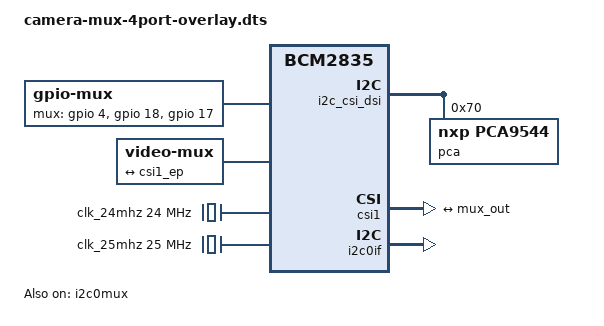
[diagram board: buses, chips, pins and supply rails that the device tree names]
// SPDX-License-Identifier: GPL-2.0-only

// Overlay to configure a 4 port camera multiplexer
//
// Configuration is based on the Arducam 4 channel multiplexer
// which uses a PCA9543 I2C multiplexer to handle the
// I2C, and GPIOs 4, 17, and 18 to control the MIPI muxes.

/dts-v1/;
/plugin/;

#include <dt-bindings/gpio/gpio.h>

/{
	compatible = "brcm,bcm2835";

	/* Fragments that complete the individual sensor fragments */
	/* IMX290 */
	fragment@0 {
		target = <&imx290_0_ep>;
		__overlay__ {
			data-lanes = <1 2>;
			link-frequencies =
				/bits/ 64 <445500000 297000000>;
		};
	};

	fragment@1 {
		target = <&imx290_1_ep>;
		__overlay__ {
			data-lanes = <1 2>;
			link-frequencies =
				/bits/ 64 <445500000 297000000>;
		};
	};

	fragment@2 {
		target = <&imx290_2_ep>;
		__overlay__ {
			data-lanes = <1 2>;
			link-frequencies =
				/bits/ 64 <445500000 297000000>;
		};
	};

	fragment@3 {
		target = <&imx290_3_ep>;
		__overlay__ {
			data-lanes = <1 2>;
			link-frequencies =
				/bits/ 64 <445500000 297000000>;
		};
	};

	/* IMX477 */
	fragment@10 {
		target = <&imx477_0>;
		__overlay__ {
			compatible = "sony,imx477";
		};
	};

	fragment@11 {
		target = <&imx477_1>;
		__overlay__ {
			compatible = "sony,imx477";
		};
	};

	fragment@12 {
		target = <&imx477_2>;
		__overlay__ {
			compatible = "sony,imx477";
		};
	};

	fragment@13 {
		target = <&imx477_3>;
		__overlay__ {
			compatible = "sony,imx477";
		};
	};

	/* Additional fragments affecting the mux nodes */
	fragment@100 {
		target = <&mux_in0>;
		__dormant__ {
			data-lanes = <1>;
		};
	};
	fragment@101 {
		target = <&mux_in0>;
		__overlay__ {
			data-lanes = <1 2>;
		};
	};

	fragment@102 {
		target = <&mux_in1>;
		__dormant__ {
			data-lanes = <1>;
		};
	};
	fragment@103 {
		target = <&mux_in1>;
		__overlay__ {
			data-lanes = <1 2>;
		};
	};

	fragment@104 {
		target = <&mux_in2>;
		__dormant__ {
			data-lanes = <1>;
		};
	};
	fragment@105 {
		target = <&mux_in2>;
		__overlay__ {
			data-lanes = <1 2>;
		};
	};

	fragment@106 {
		target = <&mux_in3>;
		__dormant__ {
			data-lanes = <1>;
		};
	};
	fragment@107 {
		target = <&mux_in3>;
		__overlay__ {
			data-lanes = <1 2>;
		};
	};

	/* Mux define */
	fragment@200 {
		target = <&i2c_csi_dsi>;
		__overlay__ {
			#address-cells = <1>;
			#size-cells = <0>;
			status = "okay";

			pca@70 {
				reg = <0x70>;
				compatible = "nxp,pca9544";

				#address-cells = <1>;
				#size-cells = <0>;

				i2c@0 {
					reg = <0>;
					#address-cells = <1>;
					#size-cells = <0>;

					#define cam_node arducam_64mp_0
					#define cam_endpoint arducam_64mp_0_ep
					#define vcm_node arducam_64mp_0_vcm
					#define cam1_clk clk_24mhz
					#include "arducam-64mp.dtsi"
					#undef cam_node
					#undef cam_endpoint
					#undef vcm_node
					#undef cam1_clk

					#define cam_node imx219_0
					#define cam_endpoint imx219_0_ep
					#define cam1_clk clk_24mhz
					#include "imx219.dtsi"
					#undef cam_node
					#undef cam_endpoint
					#undef cam1_clk

					#define cam_node imx477_0
					#define cam_endpoint imx477_0_ep
					#define cam1_clk clk_24mhz
					#include "imx477_378.dtsi"
					#undef cam_node
					#undef cam_endpoint
					#undef cam1_clk

					#define cam_node imx519_0
					#define cam_endpoint imx519_0_ep
					#define vcm_node imx519_0_vcm
					#define cam1_clk clk_24mhz
					#include "imx519.dtsi"
					#undef cam_node
					#undef cam_endpoint
					#undef vcm_node
					#undef cam1_clk

					#define cam_node imx708_0
					#define cam_endpoint imx708_0_ep
					#define vcm_node imx708_0_vcm
					#define cam1_clk clk_24mhz
					#include "imx708.dtsi"
					#undef cam_node
					#undef cam_endpoint
					#undef vcm_node
					#undef cam1_clk

					#define cam_node ov5647_0
					#define cam_endpoint ov5647_0_ep
					#define cam1_clk clk_25mhz
					#include "ov5647.dtsi"
					#undef cam_node
					#undef cam_endpoint
					#undef cam1_clk

					#define cam_node ov7251_0
					#define cam_endpoint ov7251_0_ep
					#define cam1_clk clk_24mhz
					#include "ov7251.dtsi"
					#undef cam_node
					#undef cam_endpoint
					#undef cam1_clk

					#define cam_node ov9281_0
					#define cam_endpoint ov9281_0_ep
					#define cam1_clk clk_24mhz
					#include "ov9281.dtsi"
					#undef cam_node
					#undef cam_endpoint
					#undef cam1_clk

					#define cam_node imx258_0
					#define cam_endpoint imx258_0_ep
					#define cam1_clk clk_24mhz
					#include "imx258.dtsi"
					#undef cam_node
					#undef cam_endpoint
					#undef cam1_clk

					#define cam_node imx290_0
					#define cam_endpoint imx290_0_ep
					#define cam1_clk clk_imx290
					#include "imx290_327.dtsi"
					#undef cam_node
					#undef cam_endpoint
					#undef cam1_clk

					#define cam_node ov2311_0
					#define cam_endpoint ov2311_0_ep
					#define cam1_clk clk_24mhz
					#include "ov2311.dtsi"
					#undef cam_node
					#undef cam_endpoint
					#undef cam1_clk
				};

				i2c@1 {
					reg = <1>;
					#address-cells = <1>;
					#size-cells = <0>;

					#define cam_node arducam_64mp_1
					#define cam_endpoint arducam_64mp_1_ep
					#define vcm_node arducam_64mp_1_vcm
					#define cam1_clk clk_24mhz
					#include "arducam-64mp.dtsi"
					#undef cam_node
					#undef cam_endpoint
					#undef vcm_node
					#undef cam1_clk

					#define cam_node imx219_1
					#define cam_endpoint imx219_1_ep
					#define cam1_clk clk_24mhz
					#include "imx219.dtsi"
					#undef cam_node
					#undef cam_endpoint
					#undef cam1_clk

					#define cam_node imx477_1
					#define cam_endpoint imx477_1_ep
					#define cam1_clk clk_24mhz
					#include "imx477_378.dtsi"
					#undef cam_node
					#undef cam_endpoint
					#undef cam1_clk

					#define cam_node imx519_1
					#define cam_endpoint imx519_1_ep
					#define vcm_node imx519_1_vcm
					#define cam1_clk clk_24mhz
					#include "imx519.dtsi"
					#undef cam_node
					#undef cam_endpoint
					#undef vcm_node
					#undef cam1_clk

					#define cam_node imx708_1
					#define cam_endpoint imx708_1_ep
					#define vcm_node imx708_1_vcm
					#define cam1_clk clk_24mhz
					#include "imx708.dtsi"
					#undef cam_node
					#undef cam_endpoint
					#undef vcm_node
					#undef cam1_clk

					#define cam_node ov5647_1
					#define cam_endpoint ov5647_1_ep
					#define cam1_clk clk_25mhz
					#include "ov5647.dtsi"
					#undef cam_node
					#undef cam_endpoint
					#undef cam1_clk

					#define cam_node ov7251_1
					#define cam_endpoint ov7251_1_ep
					#define cam1_clk clk_24mhz
					#include "ov7251.dtsi"
					#undef cam_node
					#undef cam_endpoint
					#undef cam1_clk

					#define cam_node ov9281_1
					#define cam_endpoint ov9281_1_ep
					#define cam1_clk clk_24mhz
					#include "ov9281.dtsi"
					#undef cam_node
					#undef cam_endpoint
					#undef cam1_clk

					#define cam_node imx258_1
					#define cam_endpoint imx258_1_ep
					#define cam1_clk clk_24mhz
					#include "imx258.dtsi"
					#undef cam_node
					#undef cam_endpoint
					#undef cam1_clk

					#define cam_node imx290_1
					#define cam_endpoint imx290_1_ep
					#define cam1_clk clk_imx290
					#include "imx290_327.dtsi"
					#undef cam_node
					#undef cam_endpoint
					#undef cam1_clk

					#define cam_node ov2311_1
					#define cam_endpoint ov2311_1_ep
					#define cam1_clk clk_24mhz
					#include "ov2311.dtsi"
					#undef cam_node
					#undef cam_endpoint
					#undef cam1_clk
				};

				i2c@2 {
					reg = <2>;
					#address-cells = <1>;
					#size-cells = <0>;

					#define cam_node arducam_64mp_2
					#define cam_endpoint arducam_64mp_2_ep
					#define vcm_node arducam_64mp_2_vcm
					#define cam1_clk clk_24mhz
					#include "arducam-64mp.dtsi"
					#undef cam_node
					#undef cam_endpoint
					#undef vcm_node
					#undef cam1_clk

					#define cam_node imx219_2
					#define cam_endpoint imx219_2_ep
					#define cam1_clk clk_24mhz
					#include "imx219.dtsi"
					#undef cam_node
					#undef cam_endpoint
					#undef cam1_clk

					#define cam_node imx477_2
					#define cam_endpoint imx477_2_ep
					#define cam1_clk clk_24mhz
					#include "imx477_378.dtsi"
					#undef cam_node
					#undef cam_endpoint
					#undef cam1_clk

					#define cam_node imx519_2
					#define cam_endpoint imx519_2_ep
					#define vcm_node imx519_2_vcm
					#define cam1_clk clk_24mhz
					#include "imx519.dtsi"
					#undef cam_node
					#undef cam_endpoint
					#undef vcm_node
					#undef cam1_clk

					#define cam_node imx708_2
					#define cam_endpoint imx708_2_ep
					#define vcm_node imx708_2_vcm
					#define cam1_clk clk_24mhz
					#include "imx708.dtsi"
					#undef cam_node
					#undef cam_endpoint
					#undef vcm_node
					#undef cam1_clk

					#define cam_node ov5647_2
					#define cam_endpoint ov5647_2_ep
					#define cam1_clk clk_25mhz
					#include "ov5647.dtsi"
					#undef cam_node
					#undef cam_endpoint
					#undef cam1_clk

					#define cam_node ov7251_2
					#define cam_endpoint ov7251_2_ep
					#define cam1_clk clk_24mhz
					#include "ov7251.dtsi"
					#undef cam_node
					#undef cam_endpoint
					#undef cam1_clk

					#define cam_node ov9281_2
					#define cam_endpoint ov9281_2_ep
					#define cam1_clk clk_24mhz
					#include "ov9281.dtsi"
					#undef cam_node
					#undef cam_endpoint
					#undef cam1_clk

					#define cam_node imx258_2
					#define cam_endpoint imx258_2_ep
					#define cam1_clk clk_24mhz
					#include "imx258.dtsi"
					#undef cam_node
					#undef cam_endpoint
					#undef cam1_clk

					#define cam_node imx290_2
					#define cam_endpoint imx290_2_ep
					#define cam1_clk clk_imx290
					#include "imx290_327.dtsi"
					#undef cam_node
					#undef cam_endpoint
					#undef cam1_clk

					#define cam_node ov2311_2
					#define cam_endpoint ov2311_2_ep
					#define cam1_clk clk_24mhz
					#include "ov2311.dtsi"
					#undef cam_node
					#undef cam_endpoint
					#undef cam1_clk
				};

				i2c@3 {
					reg = <3>;
					#address-cells = <1>;
					#size-cells = <0>;

					#define cam_node arducam_64mp_3
					#define cam_endpoint arducam_64mp_3_ep
					#define vcm_node arducam_64mp_3_vcm
					#define cam1_clk clk_24mhz
					#include "arducam-64mp.dtsi"
					#undef cam_node
					#undef cam_endpoint
					#undef vcm_node
					#undef cam1_clk

					#define cam_node imx219_3
					#define cam_endpoint imx219_3_ep
					#define cam1_clk clk_24mhz
					#include "imx219.dtsi"
					#undef cam_node
					#undef cam_endpoint
					#undef cam1_clk

					#define cam_node imx477_3
					#define cam_endpoint imx477_3_ep
					#define cam1_clk clk_24mhz
					#include "imx477_378.dtsi"
					#undef cam_node
					#undef cam_endpoint
					#undef cam1_clk

					#define cam_node imx519_3
					#define cam_endpoint imx519_3_ep
					#define vcm_node imx519_3_vcm
					#define cam1_clk clk_24mhz
					#include "imx519.dtsi"
					#undef cam_node
					#undef cam_endpoint
					#undef vcm_node
					#undef cam1_clk

					#define cam_node imx708_3
					#define cam_endpoint imx708_3_ep
					#define vcm_node imx708_3_vcm
					#define cam1_clk clk_24mhz
					#include "imx708.dtsi"
					#undef cam_node
					#undef cam_endpoint
					#undef vcm_node
					#undef cam1_clk

					#define cam_node ov5647_3
					#define cam_endpoint ov5647_3_ep
					#define cam1_clk clk_25mhz
					#include "ov5647.dtsi"
					#undef cam_node
					#undef cam_endpoint
					#undef cam1_clk

					#define cam_node ov7251_3
					#define cam_endpoint ov7251_3_ep
					#define cam1_clk clk_24mhz
					#include "ov7251.dtsi"
					#undef cam_node
					#undef cam_endpoint
					#undef cam1_clk

					#define cam_node ov9281_3
					#define cam_endpoint ov9281_3_ep
					#define cam1_clk clk_24mhz
					#include "ov9281.dtsi"
					#undef cam_node
					#undef cam_endpoint
					#undef cam1_clk

					#define cam_node imx258_3
					#define cam_endpoint imx258_3_ep
					#define cam1_clk clk_24mhz
					#include "imx258.dtsi"
					#undef cam_node
					#undef cam_endpoint
					#undef cam1_clk

					#define cam_node imx290_3
					#define cam_endpoint imx290_3_ep
					#define cam1_clk clk_imx290
					#include "imx290_327.dtsi"
					#undef cam_node
					#undef cam_endpoint
					#undef cam1_clk

					#define cam_node ov2311_3
					#define cam_endpoint ov2311_3_ep
					#define cam1_clk clk_24mhz
					#include "ov2311.dtsi"
					#undef cam_node
					#undef cam_endpoint
					#undef cam1_clk
				};
			};
		};
	};

	fragment@201 {
		target = <&csi1>;
		__overlay__ {
			status = "okay";

			brcm,media-controller;

			port {
				csi1_ep: endpoint {
					remote-endpoint = <&mux_out>;
					clock-lanes = <0>;
					data-lanes = <1 2>;
				};
			};
		};
	};

	fragment@202 {
		target = <&i2c0if>;
		__overlay__ {
			status = "okay";
		};
	};

	fragment@203 {
		target-path="/";
		__overlay__ {
			mux: mux-controller {
				compatible = "gpio-mux";
				#mux-control-cells = <0>;

				/* SEL, En2, En1 */
				mux-gpios = <&gpio 4 GPIO_ACTIVE_HIGH>,
					    <&gpio 18 GPIO_ACTIVE_HIGH>,
					    <&gpio 17 GPIO_ACTIVE_HIGH>;
			};

			video-mux {
				compatible = "video-mux";
				mux-controls = <&mux>;
				#address-cells = <1>;
				#size-cells = <0>;

				/* GPIO mappings settings for selecting the different
				 * camera connectors are not direct, hence port@ values
				 * are not straight forward.
				 */
				port@2 {
					/* Port A - GPIO 17 = 0, GPIO 18 = 1,GPIO 4 = 0 */
					reg = <2>;

					mux_in0: endpoint {
						clock-lanes = <0>;
					};
				};

				port@3 {
					/* Port B - GPIO 17 = 0, GPIO 18 = 1,GPIO 4 = 1 */
					reg = <3>;

					mux_in1: endpoint {
						clock-lanes = <0>;
					};
				};

				port@4 {
					/* Port C - GPIO 17 = 1, GPIO 18 = 0, GPIO 4 = 0 */
					reg = <4>;

					mux_in2: endpoint {
						clock-lanes = <0>;
					};
				};

				port@5 {
					/* Port D - GPIO 17 = 1, GPIO 18 = 0, GPIO 4 = 1 */
					reg = <5>;

					mux_in3: endpoint {
						clock-lanes = <0>;
					};
				};

				port@6 {
					/* Output port needs to be the highest port number */
					reg = <6>;

					mux_out: endpoint {
						remote-endpoint = <&csi1_ep>;
						clock-lanes = <0>;
					};
				};
			};

			clk_24mhz: clk_24mhz {
				compatible = "fixed-clock";
				#clock-cells = <0>;

				clock-frequency = <24000000>;
				status = "okay";
			};

			clk_25mhz: clk_25mhz {
				compatible = "fixed-clock";
				#clock-cells = <0>;

				clock-frequency = <25000000>;
				status = "okay";
			};

			clk_imx290: clk_imx290 {
				compatible = "fixed-clock";
				#clock-cells = <0>;

				clock-frequency = <37125000>;
				status = "okay";
			};
		};
	};

	fragment@204 {
		target = <&i2c0mux>;
		__overlay__ {
			status = "okay";
		};
	};

	__overrides__ {
		cam0-arducam-64mp = <&mux_in0>, "remote-endpoint:0=",<&arducam_64mp_0_ep>,
				    <&arducam_64mp_0_ep>, "remote-endpoint:0=",<&mux_in0>,
				    <&mux_in0>, "clock-noncontinuous?",
				    <&arducam_64mp_0>, "status=okay",
				    <&arducam_64mp_0_vcm>, "status=okay",
				    <&arducam_64mp_0>,"lens-focus:0=", <&arducam_64mp_0_vcm>;
		cam0-imx219 = <&mux_in0>, "remote-endpoint:0=",<&imx219_0_ep>,
			      <&imx219_0_ep>, "remote-endpoint:0=",<&mux_in0>,
			      <&mux_in0>, "clock-noncontinuous?",
			      <&imx219_0>, "status=okay";
		cam0-imx477 = <&mux_in0>, "remote-endpoint:0=",<&imx477_0_ep>,
			      <&imx477_0_ep>, "remote-endpoint:0=",<&mux_in0>,
			      <&mux_in0>, "clock-noncontinuous?",
			      <&imx477_0>, "status=okay";
		cam0-imx519 = <&mux_in0>, "remote-endpoint:0=",<&imx519_0_ep>,
			      <&imx519_0_ep>, "remote-endpoint:0=",<&mux_in0>,
			      <&mux_in0>, "clock-noncontinuous?",
			      <&imx519_0>, "status=okay",
			      <&imx519_0_vcm>, "status=okay",
			      <&imx519_0>,"lens-focus:0=", <&imx519_0_vcm>;
		cam0-imx708 = <&mux_in0>, "remote-endpoint:0=",<&imx708_0_ep>,
			      <&imx708_0_ep>, "remote-endpoint:0=",<&mux_in0>,
			      <&mux_in0>, "clock-noncontinuous?",
			      <&imx708_0>, "status=okay",
			      <&imx708_0_vcm>, "status=okay",
			      <&imx708_0>,"lens-focus:0=", <&imx708_0_vcm>;
		cam0-ov5647 = <&mux_in0>, "remote-endpoint:0=",<&ov5647_0_ep>,
			      <&ov5647_0_ep>, "remote-endpoint:0=",<&mux_in0>,
			      <&ov5647_0>, "status=okay";
		cam0-ov7251 = <&mux_in0>, "remote-endpoint:0=",<&ov7251_0_ep>,
			      <&ov7251_0_ep>, "remote-endpoint:0=",<&mux_in0>,
			      <&ov7251_0>, "status=okay",
			      <0>,"+100-101";
		cam0-ov9281 = <&mux_in0>, "remote-endpoint:0=",<&ov9281_0_ep>,
			      <&ov9281_0_ep>, "remote-endpoint:0=",<&mux_in0>,
			      <&ov9281_0>, "status=okay";
		cam0-imx258 = <&mux_in0>, "remote-endpoint:0=",<&imx258_0_ep>,
			      <&imx258_0_ep>, "remote-endpoint:0=",<&mux_in0>,
			      <&imx258_0>, "status=okay";
		cam0-imx290 = <&mux_in0>, "remote-endpoint:0=",<&imx290_0_ep>,
			      <&imx290_0_ep>, "remote-endpoint:0=",<&mux_in0>,
			      <&imx290_0>, "status=okay";
		cam0-ov2311 = <&mux_in0>, "remote-endpoint:0=",<&ov2311_0_ep>,
			      <&ov2311_0_ep>, "remote-endpoint:0=",<&mux_in0>,
			      <&ov2311_0>, "status=okay";

		cam1-arducam-64mp = <&mux_in1>, "remote-endpoint:0=",<&arducam_64mp_1_ep>,
				    <&arducam_64mp_1_ep>, "remote-endpoint:0=",<&mux_in1>,
				    <&mux_in1>, "clock-noncontinuous?",
				    <&arducam_64mp_1>, "status=okay",
				    <&arducam_64mp_1_vcm>, "status=okay",
				    <&arducam_64mp_1>,"lens-focus:0=", <&arducam_64mp_1_vcm>;
		cam1-imx219 = <&mux_in1>, "remote-endpoint:0=",<&imx219_1_ep>,
			      <&imx219_1_ep>, "remote-endpoint:0=",<&mux_in1>,
			      <&mux_in1>, "clock-noncontinuous?",
			      <&imx219_1>, "status=okay";
		cam1-imx477 = <&mux_in1>, "remote-endpoint:0=",<&imx477_1_ep>,
			      <&imx477_1_ep>, "remote-endpoint:0=",<&mux_in1>,
			      <&mux_in1>, "clock-noncontinuous?",
			      <&imx477_1>, "status=okay";
		cam1-imx519 = <&mux_in1>, "remote-endpoint:0=",<&imx519_1_ep>,
			      <&imx519_1_ep>, "remote-endpoint:0=",<&mux_in1>,
			      <&mux_in1>, "clock-noncontinuous?",
			      <&imx519_1>, "status=okay",
			      <&imx519_1_vcm>, "status=okay",
			      <&imx519_1>,"lens-focus:0=", <&imx519_1_vcm>;
		cam1-imx708 = <&mux_in1>, "remote-endpoint:0=",<&imx708_1_ep>,
			      <&imx708_1_ep>, "remote-endpoint:0=",<&mux_in1>,
			      <&mux_in1>, "clock-noncontinuous?",
			      <&imx708_1>, "status=okay",
			      <&imx708_1_vcm>, "status=okay",
			      <&imx708_1>,"lens-focus:0=", <&imx708_1_vcm>;
		cam1-ov5647 = <&mux_in1>, "remote-endpoint:0=",<&ov5647_1_ep>,
			      <&ov5647_1_ep>, "remote-endpoint:0=",<&mux_in1>,
			      <&ov5647_1>, "status=okay";
		cam1-ov7251 = <&mux_in1>, "remote-endpoint:0=",<&ov7251_1_ep>,
			      <&ov7251_1_ep>, "remote-endpoint:0=",<&mux_in1>,
			      <&ov7251_1>, "status=okay",
			      <0>,"+102-103";
		cam1-ov9281 = <&mux_in1>, "remote-endpoint:0=",<&ov9281_1_ep>,
			      <&ov9281_1_ep>, "remote-endpoint:0=",<&mux_in1>,
			      <&ov9281_1>, "status=okay";
		cam1-imx258 = <&mux_in1>, "remote-endpoint:0=",<&imx258_1_ep>,
			      <&imx258_1_ep>, "remote-endpoint:0=",<&mux_in1>,
			      <&imx258_1>, "status=okay";
		cam1-imx290 = <&mux_in1>, "remote-endpoint:0=",<&imx290_1_ep>,
			      <&imx290_1_ep>, "remote-endpoint:0=",<&mux_in1>,
			      <&imx290_1>, "status=okay";
		cam1-ov2311 = <&mux_in1>, "remote-endpoint:0=",<&ov2311_1_ep>,
			      <&ov2311_1_ep>, "remote-endpoint:0=",<&mux_in1>,
			      <&ov2311_1>, "status=okay";

		cam2-arducam-64mp = <&mux_in2>, "remote-endpoint:0=",<&arducam_64mp_2_ep>,
				    <&arducam_64mp_2_ep>, "remote-endpoint:0=",<&mux_in2>,
				    <&mux_in2>, "clock-noncontinuous?",
				    <&arducam_64mp_2>, "status=okay",
				    <&arducam_64mp_2_vcm>, "status=okay",
				    <&arducam_64mp_2>,"lens-focus:0=", <&arducam_64mp_2_vcm>;
		cam2-imx219 = <&mux_in2>, "remote-endpoint:0=",<&imx219_2_ep>,
			      <&imx219_2_ep>, "remote-endpoint:0=",<&mux_in2>,
			      <&mux_in2>, "clock-noncontinuous?",
			      <&imx219_2>, "status=okay";
		cam2-imx477 = <&mux_in2>, "remote-endpoint:0=",<&imx477_2_ep>,
			      <&imx477_2_ep>, "remote-endpoint:0=",<&mux_in2>,
			      <&mux_in2>, "clock-noncontinuous?",
			      <&imx477_2>, "status=okay";
		cam2-imx519 = <&mux_in2>, "remote-endpoint:0=",<&imx519_2_ep>,
			      <&imx519_2_ep>, "remote-endpoint:0=",<&mux_in2>,
			      <&mux_in2>, "clock-noncontinuous?",
			      <&imx519_2>, "status=okay",
			      <&imx519_2_vcm>, "status=okay",
			      <&imx519_2>,"lens-focus:0=", <&imx519_2_vcm>;
		cam2-imx708 = <&mux_in2>, "remote-endpoint:0=",<&imx708_2_ep>,
			      <&imx708_2_ep>, "remote-endpoint:0=",<&mux_in2>,
			      <&mux_in2>, "clock-noncontinuous?",
			      <&imx708_2>, "status=okay",
			      <&imx708_2_vcm>, "status=okay",
			      <&imx708_2>,"lens-focus:0=", <&imx708_2_vcm>;
		cam2-ov5647 = <&mux_in2>, "remote-endpoint:0=",<&ov5647_2_ep>,
			      <&ov5647_2_ep>, "remote-endpoint:0=",<&mux_in2>,
			      <&ov5647_2>, "status=okay";
		cam2-ov7251 = <&mux_in2>, "remote-endpoint:0=",<&ov7251_2_ep>,
			      <&ov7251_2_ep>, "remote-endpoint:0=",<&mux_in2>,
			      <&ov7251_2>, "status=okay",
			      <0>,"+104-105";
		cam2-ov9281 = <&mux_in2>, "remote-endpoint:0=",<&ov9281_2_ep>,
			      <&ov9281_2_ep>, "remote-endpoint:0=",<&mux_in2>,
			      <&ov9281_2>, "status=okay";
		cam2-imx258 = <&mux_in2>, "remote-endpoint:0=",<&imx258_2_ep>,
			      <&imx258_2>, "status=okay",
			      <&imx258_2>, "remote-endpoint:0=",<&mux_in2>;
		cam2-imx290 = <&mux_in2>, "remote-endpoint:0=",<&imx290_2_ep>,
			      <&imx290_2_ep>, "remote-endpoint:0=",<&mux_in2>,
			      <&imx290_2>, "status=okay";
		cam2-ov2311 = <&mux_in2>, "remote-endpoint:0=",<&ov2311_2_ep>,
			      <&ov2311_2_ep>, "remote-endpoint:0=",<&mux_in2>,
			      <&ov2311_2>, "status=okay";

		cam3-arducam-64mp = <&mux_in3>, "remote-endpoint:0=",<&arducam_64mp_3_ep>,
				    <&arducam_64mp_3_ep>, "remote-endpoint:0=",<&mux_in3>,
				    <&mux_in3>, "clock-noncontinuous?",
				    <&arducam_64mp_3>, "status=okay",
				    <&arducam_64mp_3_vcm>, "status=okay",
				    <&arducam_64mp_3>,"lens-focus:0=", <&arducam_64mp_3_vcm>;
		cam3-imx219 = <&mux_in3>, "remote-endpoint:0=",<&imx219_3_ep>,
			      <&imx219_3_ep>, "remote-endpoint:0=",<&mux_in3>,
			      <&mux_in3>, "clock-noncontinuous?",
			      <&imx219_3>, "status=okay";
		cam3-imx477 = <&mux_in3>, "remote-endpoint:0=",<&imx477_3_ep>,
			      <&imx477_3_ep>, "remote-endpoint:0=",<&mux_in3>,
			      <&mux_in3>, "clock-noncontinuous?",
			      <&imx477_3>, "status=okay";
		cam3-imx519 = <&mux_in3>, "remote-endpoint:0=",<&imx519_3_ep>,
			      <&imx519_3_ep>, "remote-endpoint:0=",<&mux_in3>,
			      <&mux_in3>, "clock-noncontinuous?",
			      <&imx519_3>, "status=okay",
			      <&imx519_3_vcm>, "status=okay",
			      <&imx519_3>,"lens-focus:0=", <&imx519_3_vcm>;
		cam3-imx708 = <&mux_in3>, "remote-endpoint:0=",<&imx708_3_ep>,
			      <&imx708_3_ep>, "remote-endpoint:0=",<&mux_in3>,
			      <&mux_in3>, "clock-noncontinuous?",
			      <&imx708_3>, "status=okay",
			      <&imx708_3_vcm>, "status=okay",
			      <&imx708_3>,"lens-focus:0=", <&imx708_3_vcm>;
		cam3-ov5647 = <&mux_in3>, "remote-endpoint:0=",<&ov5647_3_ep>,
			      <&ov5647_3_ep>, "remote-endpoint:0=",<&mux_in3>,
			      <&ov5647_3>, "status=okay";
		cam3-ov7251 = <&mux_in3>, "remote-endpoint:0=",<&ov7251_3_ep>,
			      <&ov7251_3_ep>, "remote-endpoint:0=",<&mux_in3>,
			      <&ov7251_3>, "status=okay",
			      <0>,"+106-107";
		cam3-ov9281 = <&mux_in3>, "remote-endpoint:0=",<&ov9281_3_ep>,
			      <&ov9281_3_ep>, "remote-endpoint:0=",<&mux_in3>,
			      <&ov9281_3>, "status=okay";
		cam3-imx258 = <&mux_in3>, "remote-endpoint:0=",<&imx258_3_ep>,
			      <&imx258_3_ep>, "remote-endpoint:0=",<&mux_in3>,
			      <&imx258_3>, "status=okay";
		cam3-imx290 = <&mux_in3>, "remote-endpoint:0=",<&imx290_3_ep>,
			      <&imx290_3_ep>, "remote-endpoint:0=",<&mux_in3>,
			      <&imx290_3>, "status=okay";
		cam3-ov2311 = <&mux_in3>, "remote-endpoint:0=",<&ov2311_3_ep>,
			      <&ov2311_3_ep>, "remote-endpoint:0=",<&mux_in3>,
			      <&ov2311_3>, "status=okay";

		cam0-imx290-clk-freq = <&clk_imx290>,"clock-frequency:0",
				       <&imx290_0>,"clock-frequency:0";
		cam1-imx290-clk-freq = <&clk_imx290>,"clock-frequency:0",
				       <&imx290_1>,"clock-frequency:0";
		cam2-imx290-clk-freq = <&clk_imx290>,"clock-frequency:0",
				       <&imx290_2>,"clock-frequency:0";
		cam3-imx290-clk-freq = <&clk_imx290>,"clock-frequency:0",
				       <&imx290_3>,"clock-frequency:0";
	};
};
